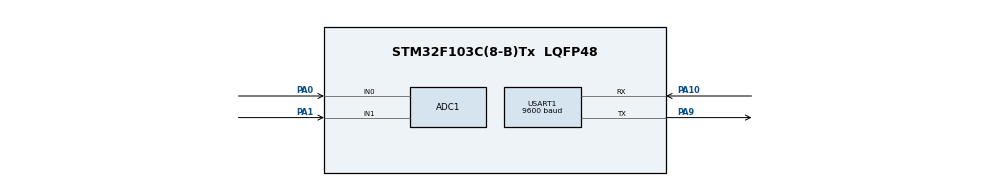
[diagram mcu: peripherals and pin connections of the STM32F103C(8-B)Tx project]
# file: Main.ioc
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ADC1.Channel-0\#ChannelRegularConversion=ADC_CHANNEL_0
ADC1.Channel-1\#ChannelRegularConversion=ADC_CHANNEL_1
ADC1.ContinuousConvMode=ENABLE
ADC1.NbrOfConversion=2
ADC1.NbrOfConversionFlag=1
ADC1.Rank-1\#ChannelRegularConversion=2
ADC1.SamplingTime-1\#ChannelRegularConversion=ADC_SAMPLETIME_1CYCLE_5
ADC1.master=1
Dma.ADC1.0.Direction=DMA_PERIPH_TO_MEMORY
Dma.ADC1.0.Instance=DMA1_Channel1
Dma.ADC1.0.MemDataAlignment=DMA_MDATAALIGN_HALFWORD
Dma.ADC1.0.MemInc=DMA_MINC_ENABLE
Dma.ADC1.0.Mode=DMA_CIRCULAR
Dma.ADC1.0.PeriphDataAlignment=DMA_PDATAALIGN_HALFWORD
Dma.ADC1.0.PeriphInc=DMA_PINC_DISABLE
Dma.ADC1.0.Priority=DMA_PRIORITY_MEDIUM
Dma.Request0=ADC1
Mcu.Family=STM32F1
Mcu.Name=STM32F103C(8-B)Tx
Mcu.Package=LQFP48
NVIC.ADC1_2_IRQn=true\:0\:0\:false\:false\:true\:true\:true\:true
NVIC.DMA1_Channel1_IRQn=true\:0\:0\:false\:false\:true\:false\:true\:true
NVIC.PriorityGroup=NVIC_PRIORITYGROUP_4
NVIC.USART1_IRQn=true\:0\:0\:false\:false\:true\:true\:true\:true
PA0-WKUP.Signal=ADCx_IN0
PA1.Signal=ADCx_IN1
PA10.Mode=Asynchronous
PA10.Signal=USART1_RX
PA13.Mode=Serial_Wire
PA13.Signal=SYS_JTMS-SWDIO
PA14.Mode=Serial_Wire
PA14.Signal=SYS_JTCK-SWCLK
PA9.Mode=Asynchronous
PA9.Signal=USART1_TX
ProjectManager.HeapSize=0x200
ProjectManager.StackSize=0x400
ProjectManager.TargetToolchain=MDK-ARM V5.32
RCC.APB1Freq_Value=8000000
RCC.APB2Freq_Value=8000000
SH.ADCx_IN0.0=ADC1_IN0,IN0
SH.ADCx_IN1.0=ADC1_IN1,IN1
USART1.BaudRate=9600
USART1.VirtualMode=VM_ASYNC
board=custom

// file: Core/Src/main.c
/* USER CODE BEGIN Header */
/* USER CODE END Header */
#include "main.h"

/* USER CODE BEGIN Includes */
#include "stdio.h"
/* USER CODE END Includes */

/* USER CODE BEGIN PD */
#define ARRAYSIZE (uint32_t) 2
/* USER CODE END PD */

/* USER CODE BEGIN PV */
uint16_t adc_read[ARRAYSIZE];           //memory buffer to store ADC data
int j = 0;

extern volatile int counter;

extern volatile uint16_t ADC_Value;		//to be written by ADC
float Voltage;
char str[23];
/* USER CODE END PV */

void SystemClock_Config(void);
static void MX_GPIO_Init(void);
static void MX_DMA_Init(void);
static void MX_ADC1_Init(void);
static void MX_USART1_UART_Init(void);

/* USER CODE BEGIN 0 */
	//retargeting scanf/printf

	/* Function for transmitting 8bit data via USART */
	void write_uart(char data){
		while(!LL_USART_IsActiveFlag_TXE(USART1));
		LL_USART_TransmitData8(USART1, (uint8_t)data);
	}

	/* Declaring read_uart function(defined in "stm32f1cc_it.c") */
	char read_uart(void);

	/* Retargeting stdin_getchar as to use USART_RX for data input */
	int stdin_getchar (void) {
			int ch;
			ch = read_uart();
			write_uart(ch);
		return (ch);
	}

	/* Retargeting stdout_putchar as to use USART_TX for data output */
	int stdout_putchar (int ch) {
	  write_uart(ch);
	  return (ch);
	}

/* USER CODE END 0 */

int main(void)
{

  /* MCU Configuration--------------------------------------------------------*/

  /* Reset of all peripherals, Initializes the Flash interface and the Systick. */
  LL_APB2_GRP1_EnableClock(LL_APB2_GRP1_PERIPH_AFIO);
  LL_APB1_GRP1_EnableClock(LL_APB1_GRP1_PERIPH_PWR);

  /* System interrupt init*/
  NVIC_SetPriorityGrouping(NVIC_PRIORITYGROUP_4);

  /** NOJTAG: JTAG-DP Disabled and SW-DP Enabled
  */
  LL_GPIO_AF_Remap_SWJ_NOJTAG();

  /* Configure the system clock */
  SystemClock_Config();

  /* Initialize all configured peripherals */
  MX_GPIO_Init();
  MX_DMA_Init();
  MX_ADC1_Init();
  MX_USART1_UART_Init();
  /* USER CODE BEGIN 2 */

////ADC	configuration
	LL_ADC_Enable(ADC1);

	LL_ADC_StartCalibration(ADC1); 				//Calibration start
    while(LL_ADC_IsCalibrationOnGoing(ADC1)) 	//Calibration Done?
		__NOP();

	LL_ADC_REG_StartConversionSWStart(ADC1);

////
	////DMA Configuration

	//	LL_DMA_ConfigTransfer(DMA1,
	//                        LL_DMA_CHANNEL_1,
	//                        LL_DMA_DIRECTION_PERIPH_TO_MEMORY |
	//                        LL_DMA_MODE_CIRCULAR              |
	//                        LL_DMA_PERIPH_NOINCREMENT         |
	//                        LL_DMA_MEMORY_INCREMENT           |
	//                        LL_DMA_PDATAALIGN_HALFWORD        |
	//                        LL_DMA_MDATAALIGN_HALFWORD        |
	//                        LL_DMA_PRIORITY_HIGH               );

		LL_DMA_ConfigAddresses(DMA1,
							 LL_DMA_CHANNEL_1,
							 LL_ADC_DMA_GetRegAddr(ADC1, LL_ADC_DMA_REG_REGULAR_DATA),
							 (uint32_t)adc_read,											//Address of the first element of the memory buffer
							 LL_DMA_DIRECTION_PERIPH_TO_MEMORY);

		LL_DMA_SetDataLength(DMA1,
						   LL_DMA_CHANNEL_1,
												 ARRAYSIZE);

		LL_DMA_EnableChannel(DMA1,
						   LL_DMA_CHANNEL_1);
////

  /* USER CODE END 2 */

  /* Infinite loop */
  /* USER CODE BEGIN WHILE */
	write_uart('A');
  while(1){
    /* USER CODE END WHILE */

    /* USER CODE BEGIN 3 */

				/* print out the voltages read from ADC that is stored in memory buffer  */
		Voltage = (float)(adc_read[j] * 3.3) / (4095);

		if(j==0){printf("Voltage of Channel0 is: %0.4f v\r\n", Voltage);}
		if(j==1){printf("Voltage of Channel1 is: %0.4f v\r\n", Voltage);}

		j++; if(j>=ARRAYSIZE){j=0;}
		LL_mDelay(750);
  }
  /* USER CODE END 3 */
}

void SystemClock_Config(void)
{
  LL_FLASH_SetLatency(LL_FLASH_LATENCY_0);
  while(LL_FLASH_GetLatency()!= LL_FLASH_LATENCY_0)
  {
  }
  LL_RCC_HSI_SetCalibTrimming(16);
  LL_RCC_HSI_Enable();

   /* Wait till HSI is ready */
  while(LL_RCC_HSI_IsReady() != 1)
  {

  }
  LL_RCC_SetAHBPrescaler(LL_RCC_SYSCLK_DIV_1);
  LL_RCC_SetAPB1Prescaler(LL_RCC_APB1_DIV_1);
  LL_RCC_SetAPB2Prescaler(LL_RCC_APB2_DIV_1);
  LL_RCC_SetSysClkSource(LL_RCC_SYS_CLKSOURCE_HSI);

   /* Wait till System clock is ready */
  while(LL_RCC_GetSysClkSource() != LL_RCC_SYS_CLKSOURCE_STATUS_HSI)
  {

  }
  LL_Init1msTick(8000000);
  LL_SetSystemCoreClock(8000000);
  LL_RCC_SetADCClockSource(LL_RCC_ADC_CLKSRC_PCLK2_DIV_2);
}

static void MX_ADC1_Init(void)
{

  LL_ADC_InitTypeDef ADC_InitStruct = {0};
  LL_ADC_CommonInitTypeDef ADC_CommonInitStruct = {0};
  LL_ADC_REG_InitTypeDef ADC_REG_InitStruct = {0};

  LL_GPIO_InitTypeDef GPIO_InitStruct = {0};

  /* Peripheral clock enable */
  LL_APB2_GRP1_EnableClock(LL_APB2_GRP1_PERIPH_ADC1);

  LL_APB2_GRP1_EnableClock(LL_APB2_GRP1_PERIPH_GPIOA);
  /**ADC1 GPIO Configuration
  PA0-WKUP   ------> ADC1_IN0
  PA1   ------> ADC1_IN1
  */
  GPIO_InitStruct.Pin = LL_GPIO_PIN_0|LL_GPIO_PIN_1;
  GPIO_InitStruct.Mode = LL_GPIO_MODE_ANALOG;
  LL_GPIO_Init(GPIOA, &GPIO_InitStruct);

  /* ADC1 DMA Init */

  /* ADC1 Init */
  LL_DMA_SetDataTransferDirection(DMA1, LL_DMA_CHANNEL_1, LL_DMA_DIRECTION_PERIPH_TO_MEMORY);

  LL_DMA_SetChannelPriorityLevel(DMA1, LL_DMA_CHANNEL_1, LL_DMA_PRIORITY_MEDIUM);

  LL_DMA_SetMode(DMA1, LL_DMA_CHANNEL_1, LL_DMA_MODE_CIRCULAR);

  LL_DMA_SetPeriphIncMode(DMA1, LL_DMA_CHANNEL_1, LL_DMA_PERIPH_NOINCREMENT);

  LL_DMA_SetMemoryIncMode(DMA1, LL_DMA_CHANNEL_1, LL_DMA_MEMORY_INCREMENT);

  LL_DMA_SetPeriphSize(DMA1, LL_DMA_CHANNEL_1, LL_DMA_PDATAALIGN_HALFWORD);

  LL_DMA_SetMemorySize(DMA1, LL_DMA_CHANNEL_1, LL_DMA_MDATAALIGN_HALFWORD);

  /* ADC1 interrupt Init */
  NVIC_SetPriority(ADC1_2_IRQn, NVIC_EncodePriority(NVIC_GetPriorityGrouping(),0, 0));
  NVIC_EnableIRQ(ADC1_2_IRQn);

  /** Common config
  */
  ADC_InitStruct.DataAlignment = LL_ADC_DATA_ALIGN_RIGHT;
  ADC_InitStruct.SequencersScanMode = LL_ADC_SEQ_SCAN_ENABLE;
  LL_ADC_Init(ADC1, &ADC_InitStruct);
  ADC_CommonInitStruct.Multimode = LL_ADC_MULTI_INDEPENDENT;
  LL_ADC_CommonInit(__LL_ADC_COMMON_INSTANCE(ADC1), &ADC_CommonInitStruct);
  ADC_REG_InitStruct.TriggerSource = LL_ADC_REG_TRIG_SOFTWARE;
  ADC_REG_InitStruct.SequencerLength = LL_ADC_REG_SEQ_SCAN_ENABLE_2RANKS;
  ADC_REG_InitStruct.SequencerDiscont = LL_ADC_REG_SEQ_DISCONT_DISABLE;
  ADC_REG_InitStruct.ContinuousMode = LL_ADC_REG_CONV_CONTINUOUS;
  ADC_REG_InitStruct.DMATransfer = LL_ADC_REG_DMA_TRANSFER_UNLIMITED;
  LL_ADC_REG_Init(ADC1, &ADC_REG_InitStruct);

  /** Configure Regular Channel
  */
  LL_ADC_REG_SetSequencerRanks(ADC1, LL_ADC_REG_RANK_1, LL_ADC_CHANNEL_0);
  LL_ADC_SetChannelSamplingTime(ADC1, LL_ADC_CHANNEL_0, LL_ADC_SAMPLINGTIME_1CYCLE_5);

  /** Configure Regular Channel
  */
  LL_ADC_REG_SetSequencerRanks(ADC1, LL_ADC_REG_RANK_2, LL_ADC_CHANNEL_1);
  LL_ADC_SetChannelSamplingTime(ADC1, LL_ADC_CHANNEL_1, LL_ADC_SAMPLINGTIME_1CYCLE_5);

}

static void MX_USART1_UART_Init(void)
{

  LL_USART_InitTypeDef USART_InitStruct = {0};

  LL_GPIO_InitTypeDef GPIO_InitStruct = {0};

  /* Peripheral clock enable */
  LL_APB2_GRP1_EnableClock(LL_APB2_GRP1_PERIPH_USART1);

  LL_APB2_GRP1_EnableClock(LL_APB2_GRP1_PERIPH_GPIOA);
  /**USART1 GPIO Configuration
  PA9   ------> USART1_TX
  PA10   ------> USART1_RX
  */
  GPIO_InitStruct.Pin = LL_GPIO_PIN_9;
  GPIO_InitStruct.Mode = LL_GPIO_MODE_ALTERNATE;
  GPIO_InitStruct.Speed = LL_GPIO_SPEED_FREQ_HIGH;
  GPIO_InitStruct.OutputType = LL_GPIO_OUTPUT_PUSHPULL;
  LL_GPIO_Init(GPIOA, &GPIO_InitStruct);

  GPIO_InitStruct.Pin = LL_GPIO_PIN_10;
  GPIO_InitStruct.Mode = LL_GPIO_MODE_FLOATING;
  LL_GPIO_Init(GPIOA, &GPIO_InitStruct);

  /* USART1 interrupt Init */
  NVIC_SetPriority(USART1_IRQn, NVIC_EncodePriority(NVIC_GetPriorityGrouping(),0, 0));
  NVIC_EnableIRQ(USART1_IRQn);

  /* USER CODE BEGIN USART1_Init 1 */
	LL_USART_EnableIT_RXNE(USART1);
  /* USER CODE END USART1_Init 1 */
  USART_InitStruct.BaudRate = 9600;
  USART_InitStruct.DataWidth = LL_USART_DATAWIDTH_8B;
  USART_InitStruct.StopBits = LL_USART_STOPBITS_1;
  USART_InitStruct.Parity = LL_USART_PARITY_NONE;
  USART_InitStruct.TransferDirection = LL_USART_DIRECTION_TX_RX;
  USART_InitStruct.HardwareFlowControl = LL_USART_HWCONTROL_NONE;
  USART_InitStruct.OverSampling = LL_USART_OVERSAMPLING_16;
  LL_USART_Init(USART1, &USART_InitStruct);
  LL_USART_ConfigAsyncMode(USART1);
  LL_USART_Enable(USART1);

}

static void MX_DMA_Init(void)
{

  /* Init with LL driver */
  /* DMA controller clock enable */
  LL_AHB1_GRP1_EnableClock(LL_AHB1_GRP1_PERIPH_DMA1);

  /* DMA interrupt init */
  /* DMA1_Channel1_IRQn interrupt configuration */
  NVIC_SetPriority(DMA1_Channel1_IRQn, NVIC_EncodePriority(NVIC_GetPriorityGrouping(),0, 0));
  NVIC_EnableIRQ(DMA1_Channel1_IRQn);

}

static void MX_GPIO_Init(void)
{

  /* GPIO Ports Clock Enable */
  LL_APB2_GRP1_EnableClock(LL_APB2_GRP1_PERIPH_GPIOA);

}

void Error_Handler(void)
{
}
